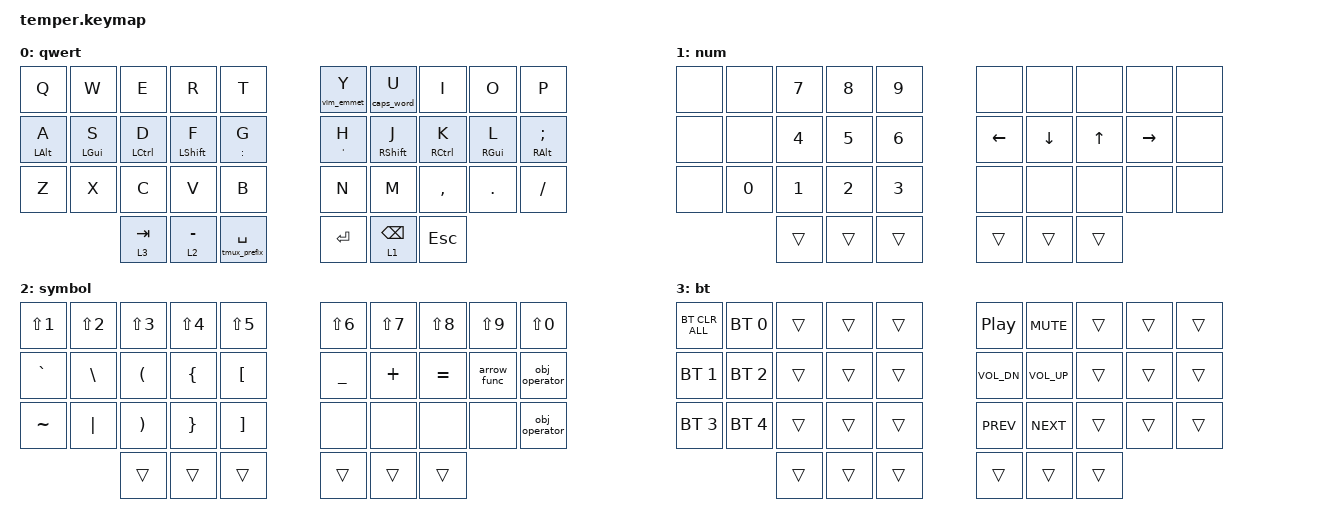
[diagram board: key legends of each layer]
/*
 * Copyright (c) 2020 The ZMK Contributors
 *
 * SPDX-License-Identifier: MIT
 */

#include <behaviors.dtsi>
#include <dt-bindings/zmk/bt.h>
#include <dt-bindings/zmk/keys.h>

#define DEFAULT 0
#define QWERTY 1
#define NUM 2
#define NAV 3
#define FUN 4

/ {
    conditional_layers {
        compatible = "zmk,conditional-layers";

        tri_layer {
            if-layers = <1 2>;
            then-layer = <3>;
        };
    };

    behaviors {
        bspc_del: backspace_delete {
            compatible = "zmk,behavior-mod-morph";
            #binding-cells = <0>;
            bindings = <&kp BACKSPACE>, <&kp DELETE>;

            mods = <(MOD_LSFT|MOD_RSFT)>;
            keep-mods = <(MOD_RSFT)>;
        };

        super_bspc: super_backspace {
            compatible = "zmk,behavior-mod-morph";
            #binding-cells = <0>;
            bindings = <&kp BACKSPACE>, <&kp LA(BACKSPACE)>;

            mods = <(MOD_LSFT|MOD_RSFT)>;
        };

        smart_shft: smart_shift {
            compatible = "zmk,behavior-mod-morph";
            #binding-cells = <0>;
            bindings = <&kp LSHFT>, <&caps_word>;

            mods = <(MOD_LSFT)>;
        };

        comma_semi: comma_semi {
            compatible = "zmk,behavior-mod-morph";
            #binding-cells = <0>;
            bindings = <&kp COMMA>, <&kp SEMI>;

            mods = <(MOD_LSFT)>;
        };

        dot_colon: dot_colon {
            compatible = "zmk,behavior-mod-morph";
            #binding-cells = <0>;
            bindings = <&kp DOT>, <&kp COLON>;

            mods = <(MOD_LSFT)>;
        };

        qmrk_excl: qmrk_excl {
            compatible = "zmk,behavior-mod-morph";
            #binding-cells = <0>;
            bindings = <&kp QMARK>, <&kp EXCL>;

            mods = <(MOD_LSFT)>;
        };

        slh_morph: slh_morph {
            compatible = "zmk,behavior-mod-morph";
            #binding-cells = <0>;
            bindings = <&kp FSLH>, <&kp BSLH>;

            mods = <(MOD_LSFT)>;
        };

        amps_morph: amps_morph {
            compatible = "zmk,behavior-mod-morph";
            #binding-cells = <0>;
            bindings = <&kp AMPS>, <&kp PIPE>;

            mods = <(MOD_LSFT)>;
        };

        hm: homerow_mods {
            compatible = "zmk,behavior-hold-tap";
            label = "HOMEROW_MODS";
            bindings = <&kp>, <&kp>;

            #binding-cells = <2>;
            tapping-term-ms = <200>;
            quick-tap-ms = <200>;
            flavor = "tap-preferred";
        };

        mt_capsword: mt_capsword {
            compatible = "zmk,behavior-hold-tap";
            label = "MT_CAPSWORD";
            bindings = <&caps_word>, <&kp>;

            #binding-cells = <2>;
            tapping-term-ms = <200>;
            hold-trigger-key-positions = <5>;
            flavor = "tap-preferred";
            quick-tap-ms = <200>;
        };

        mt_tmux_prefix: mt_tmux_prefix {
            compatible = "zmk,behavior-hold-tap";
            label = "MT_TMUX_PREFIX";
            bindings = <&tmux_prefix>, <&kp>;

            #binding-cells = <2>;
            tapping-term-ms = <200>;
            hold-trigger-key-positions = <32>;
            flavor = "tap-preferred";
            quick-tap-ms = <200>;
        };

        mt_vim_emmet: mt_vim_emmet {
            compatible = "zmk,behavior-hold-tap";
            label = "MT_VIM_EMMET";
            bindings = <&vim_emmet>, <&kp>;

            #binding-cells = <2>;
            tapping-term-ms = <200>;
            flavor = "tap-preferred";
            hold-trigger-key-positions = <5>;
        };
    };

    combos {
        compatible = "zmk,combos";

        a {
            bindings = <&kp ESCAPE>;
            key-positions = <1 0>;
        };

        b {
            bindings = <&kp CAPS>;
            key-positions = <11 10>;
        };

        c {
            bindings = <&kp TAB>;
            key-positions = <21 20>;
        };

        d {
            bindings = <&kp BACKSPACE>;
            key-positions = <9 8>;
        };

        e {
            bindings = <&kp ENTER>;
            key-positions = <18 19>;
        };

        f {
            bindings = <&kp MINUS>;
            key-positions = <16 17>;
        };

        g {
            bindings = <&kp EQUAL>;
            key-positions = <17 18>;
        };
    };

    macros {
        arrow_func: arrow_func {
            compatible = "zmk,behavior-macro";
            #binding-cells = <0>;
            bindings = <&kp EQUAL &kp GT>;
            label = "ARROW_FUNC";
        };

        obj_operator: obj_operator {
            compatible = "zmk,behavior-macro";
            #binding-cells = <0>;
            bindings = <&kp MINUS &kp GT>;
            label = "OBJ_OPERATOR";
        };

        tmux_prefix: tmux_prefix {
            compatible = "zmk,behavior-macro";
            #binding-cells = <0>;
            bindings = <&kp LC(B)>;
            label = "TMUX_PREFIX";
        };

        vim_emmet: vim_emmet {
            compatible = "zmk,behavior-macro";
            #binding-cells = <0>;
            bindings = <&kp LC(Y) &kp COMMA>;
            label = "VIM_EMMET";
        };
    };

    keymap {
        compatible = "zmk,keymap";

        qwert {
            bindings = <
  &kp Q           &kp W           &kp E        &kp R         &kp T                      &mt_vim_emmet 0 Y  &mt_capsword 0 U  &kp I        &kp O       &kp P
  &hm LEFT_ALT A  &hm LEFT_GUI S  &hm LCTRL D  &hm LSHIFT F  &mt COLON G                &hm SQT H          &hm RSHIFT J      &hm RCTRL K  &hm RGUI L  &hm RIGHT_ALT SEMI
  &kp Z           &kp X           &kp C        &kp V         &kp B                      &kp N              &kp M             &kp COMMA    &kp DOT     &kp FSLH
                                  &lt 3 TAB    &lt 2 MINUS   &mt_tmux_prefix 0 SPACE    &kp ENTER          &lt 1 BACKSPACE   &kp ESC
            >;
        };

        num {
            bindings = <
  &none  &none   &kp N7  &kp N8  &kp N9    &none     &none     &none   &none      &none
  &none  &none   &kp N4  &kp N5  &kp N6    &kp LEFT  &kp DOWN  &kp UP  &kp RIGHT  &none
  &none  &kp N0  &kp N1  &kp N2  &kp N3    &none     &none     &none   &none      &none
                 &trans  &trans  &trans    &trans    &trans    &trans
            >;
        };

        symbol {
            bindings = <
  &kp LS(N1)  &kp LS(N2)     &kp LS(N3)  &kp LS(N4)  &kp LS(N5)    &kp LS(N6)  &kp LS(N7)  &kp LS(N8)  &kp LS(N9)   &kp LS(N0)
  &kp GRAVE   &kp BACKSLASH  &kp LPAR    &kp LBRC    &kp LBKT      &kp UNDER   &kp PLUS    &kp EQUAL   &arrow_func  &obj_operator
  &kp TILDE   &kp PIPE       &kp RPAR    &kp RBRC    &kp RBKT      &none       &none       &none       &none        &obj_operator
                             &trans      &trans      &trans        &trans      &trans      &trans
            >;
        };

        bt {
            bindings = <
  &bt BT_CLR_ALL  &bt BT_SEL 0  &trans  &trans  &trans    &kp C_PLAY_PAUSE  &kp C_MUTE    &trans  &trans  &trans
  &bt BT_SEL 1    &bt BT_SEL 2  &trans  &trans  &trans    &kp C_VOL_DN      &kp C_VOL_UP  &trans  &trans  &trans
  &bt BT_SEL 3    &bt BT_SEL 4  &trans  &trans  &trans    &kp C_PREV        &kp C_NEXT    &trans  &trans  &trans
                                &trans  &trans  &trans    &trans            &trans        &trans
            >;
        };
    };
};
